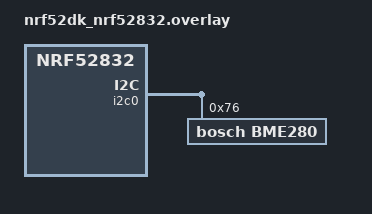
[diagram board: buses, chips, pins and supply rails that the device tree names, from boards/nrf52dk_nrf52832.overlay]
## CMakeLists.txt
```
cmake_minimum_required(VERSION 3.20.0)

set(BOARD thingy52)

set(KCONFIG_ERROR_ON_WARNINGS OFF)

FILE(GLOB app_sources src/*.c)

set(BOARD_ROOT ${CMAKE_CURRENT_SOURCE_DIR})
set(CMAKE_PREFIX_PATH ${CMAKE_CURRENT_SOURCE_DIR}/../zephyr)

find_package(Zephyr REQUIRED HINTS $ENV{ZEPHYR_BASE})
project(app C)
target_sources(app PRIVATE ${app_sources})

# add_subdirectory(tests)
```

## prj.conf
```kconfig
CONFIG_BT=y
CONFIG_BT_PERIPHERAL=y
CONFIG_BT_ZEPHYR_NUS=y
CONFIG_BT_DEVICE_NAME="EmbedOps sensor"
CONFIG_BT_DEVICE_APPEARANCE=1344


CONFIG_I2C=y
CONFIG_SENSOR=y
CONFIG_BME280=y

CONFIG_LOG=y
CONFIG_GPIO=y
```

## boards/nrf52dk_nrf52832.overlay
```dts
&pinctrl {
        i2c0_default: i2c0_default {
                group1 {
                        psels = <NRF_PSEL(TWIM_SDA, 0, 26)>,
                                <NRF_PSEL(TWIM_SCL, 0, 27)>;
                };
        };

        i2c0_sleep: i2c0_sleep {
                group1 {
                        psels = <NRF_PSEL(TWIM_SDA, 0, 26)>,
                                <NRF_PSEL(TWIM_SCL, 0, 27)>;
                        low-power-enable;
                };
        };
};

&i2c0 {
    status = "okay";
    bme280@76 {
        compatible = "bosch,bme280";
        reg = <0x76>;
    };
};
```

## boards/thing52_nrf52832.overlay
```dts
&lps22hb_press {
    status = "okay";
};

&hts221 {
    status = "okay";
};

/ {
        aliases {
                lps22hbpress = &lps22hb_press;
                hts221 = &hts221;
        }
};
```

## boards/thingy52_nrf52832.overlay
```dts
&lps22hb_press {
    status = "okay";
};

&hts221 {
    status = "okay";
};

/ {
        aliases {
                lps22hbpress = &lps22hb_press;
                hts221 = &hts221;
        };
};
```

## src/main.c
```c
#include "ble.h"
#include "sensors.h"

#include <stdbool.h>
#include <stdio.h>

#include <zephyr/drivers/gpio.h>
#include <zephyr/kernel.h>

#include <zephyr/logging/log.h>
LOG_MODULE_REGISTER(nrf52dk_eo);

#define SLEEP_TIME_MS 1000

#define LED0_NODE DT_ALIAS(led0)

static const struct gpio_dt_spec led = GPIO_DT_SPEC_GET(LED0_NODE, gpios);

static int led_initialize(void) {
  int ret;

  if (!gpio_is_ready_dt(&led)) {
    return -1;
  }

  ret = gpio_pin_configure_dt(&led, GPIO_OUTPUT_ACTIVE);
  if (ret != 0) {
    return -1;
  }

  return 0;
}

static void led_toggle(void) {
  int ret;

  ret = gpio_pin_toggle_dt(&led);
  if (ret < 0) {
    LOG_ERR("failed to toggle led %d", ret);
  }
}

static void led_status(int err) {
  int i;

  if (err) {
    for (i = 0; i < 3; ++i) { // three blinks for an err
      led_toggle();
      k_msleep(SLEEP_TIME_MS);
    }
  }
}

int main(void) {
  int ret;

  ret = led_initialize();
  if (ret < 0) {
    LOG_ERR("failed to initialize led");
    return 0;
  }

  ret = sensor_initialize();
  if (ret < 0) {
    LOG_ERR("bme280 failed to initialize");
    return 0;
  }

  ret = ble_initialize();
  if (ret < 0) {
    LOG_ERR("ble failed to initialize");
    return 0;
  }

  while (1) {
    led_status(ret);
    ret = ble_notify();
    k_msleep(SLEEP_TIME_MS);
  }
  return 0;
}
```

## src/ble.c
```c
#include "ble.h"
#include "sensors.h"

#include <zephyr/bluetooth/bluetooth.h>
#include <zephyr/bluetooth/conn.h>
#include <zephyr/bluetooth/gatt.h>
#include <zephyr/bluetooth/hci.h>
#include <zephyr/bluetooth/services/nus.h>
#include <zephyr/bluetooth/uuid.h>

#include <zephyr/logging/log.h>
LOG_MODULE_REGISTER(nrf52dk_eo_ble);

#define DEVICE_NAME CONFIG_BT_DEVICE_NAME
#define DEVICE_NAME_LEN (sizeof(DEVICE_NAME) - 1)

// BLE service e177af9e-e1f0-4f65-8206-29507e994416
#define BT_UUID_CUSTOM_SERVICE_VAL                                             \
  BT_UUID_128_ENCODE(0xe177af9e, 0xe1f0, 0x4f65, 0x8206, 0x29507e994416)

static struct bt_uuid_128 service_uuid =
    BT_UUID_INIT_128(BT_UUID_CUSTOM_SERVICE_VAL);

// BLE characteristic e177af9e-e1f0-4f65-8206-29507e994417
static struct bt_uuid_128 characteristic_uuid = BT_UUID_INIT_128(
    BT_UUID_128_ENCODE(0xe177af9e, 0xe1f0, 0x4f65, 0x8206, 0x29507e994417));

// temperature, pressure, humidity
static uint8_t sensor_values[6] = {0, 0, 0, 0, 0, 0};
static const struct bt_gatt_attr *tx_attr;

static void ccc_cfg_changed(const struct bt_gatt_attr *attr, uint16_t value) {
  ARG_UNUSED(attr);

  switch (value) {
  case BT_GATT_CCC_NOTIFY:
    LOG_DBG("CMD RX/TX CCCD subscribed");
    break;
  case BT_GATT_CCC_INDICATE:
    break;
  case 0:
    LOG_DBG("CMD RX/TX CCCD unsubscribed");
    break;

  default:
    LOG_DBG("failed CCCD has invalid value");
  }
}

static bool sensor_values_updated(void) {
  uint8_t current_buffer[6];
  int16_t temp;
  uint16_t humid, press;

  temp = sensor_get_temperature();
  press = sensor_get_pressure();
  humid = sensor_get_humidity();

  current_buffer[0] = temp & 0xFF;
  current_buffer[1] = temp >> 8;
  current_buffer[2] = press & 0xFF;
  current_buffer[3] = press >> 8;
  current_buffer[4] = humid & 0xFF;
  current_buffer[5] = humid >> 8;

  if (memcmp(sensor_values, current_buffer, sizeof(current_buffer)) != 0) {
    memcpy(sensor_values, current_buffer, sizeof(current_buffer));
    return true;
  }

  return false;
}

static ssize_t read_characteristic(struct bt_conn *conn,
                                   const struct bt_gatt_attr *attr, void *buf,
                                   uint16_t len, uint16_t offset) {
  if (sensor_values_updated()) {
    // we should do something ?
  }
  const char *value = attr->user_data;

  return bt_gatt_attr_read(conn, attr, buf, len, offset, value,
                           sizeof(sensor_values));
}

// primary service def.
BT_GATT_SERVICE_DEFINE(
    service, BT_GATT_PRIMARY_SERVICE(&service_uuid),
    BT_GATT_CHARACTERISTIC(&characteristic_uuid.uuid,
                           BT_GATT_CHRC_READ | BT_GATT_CHRC_INDICATE,
                           BT_GATT_PERM_READ, read_characteristic, NULL,
                           sensor_values),
    BT_GATT_CCC(ccc_cfg_changed, BT_GATT_PERM_READ | BT_GATT_PERM_WRITE), );

// advertising data
static const struct bt_data advert_data[] = {
    BT_DATA_BYTES(BT_DATA_FLAGS, (BT_LE_AD_GENERAL | BT_LE_AD_NO_BREDR)),
    BT_DATA_BYTES(BT_DATA_UUID128_ALL, BT_UUID_CUSTOM_SERVICE_VAL),
};

static const struct bt_data scan_data[] = {
    BT_DATA(BT_DATA_NAME_COMPLETE, CONFIG_BT_DEVICE_NAME,
            sizeof(CONFIG_BT_DEVICE_NAME) - 1),
};

static void bt_ready(int err) {
  int ret;
  LOG_INF("BT is ready");

  if (err) {
    LOG_ERR("ble not initialized %d", err);
    return;
  }

  LOG_INF("ble initialized");
  ret = bt_le_adv_start(BT_LE_ADV_CONN_FAST_1, advert_data,
                        ARRAY_SIZE(advert_data), scan_data,
                        ARRAY_SIZE(scan_data));
  if (ret != 0) {
    LOG_ERR("advertising failed to start %d", ret);
    return;
  }

  LOG_INF("advertising started");
}

static void connected(struct bt_conn *conn, uint8_t err) {
  char addr[BT_ADDR_LE_STR_LEN];

  bt_addr_le_to_str(bt_conn_get_dst(conn), addr, sizeof(addr));
  if (err) {
    LOG_ERR("failed to connect to %s, err 0x%02x %s", addr, err,
            bt_hci_err_to_str(err));
    return;
  }

  LOG_INF("connected to %s", addr);
}

static void disconnected(struct bt_conn *conn, uint8_t reason) {
  char addr[BT_ADDR_LE_STR_LEN];

  bt_addr_le_to_str(bt_conn_get_dst(conn), addr, sizeof(addr));

  LOG_INF("disconnected from %s, reason 0x%02x %s", addr, reason,
          bt_hci_err_to_str(reason));
}

BT_CONN_CB_DEFINE(conn_callbacks) = {
    .connected = connected,
    .disconnected = disconnected,
};

static void nus_notif_enabled(bool enabled, void *ctx) {
  ARG_UNUSED(ctx);

  LOG_INF("nus notification - %s", (enabled ? "enabled" : "disabled"));
}

static void nus_received(struct bt_conn *conn, const void *data, uint16_t len,
                         void *ctx) {
  ARG_UNUSED(ctx);

  int ret;

  LOG_INF("nus received - Len: %d, Message: %s", len, (char *)data);

  ret = bt_nus_send(conn, (char *)data, len);
  if (ret) {
    LOG_ERR("failed to send NUS %d", ret);
  }
}

struct bt_nus_cb nus_listener = {
    .notif_enabled = nus_notif_enabled,
    .received = nus_received,
};

bool can_notify(struct bt_conn *conn) {
  return bt_gatt_is_subscribed(conn, tx_attr, BT_GATT_CCC_NOTIFY);
}

bool can_indicate(struct bt_conn *conn) {
  return bt_gatt_is_subscribed(conn, tx_attr, BT_GATT_CCC_INDICATE);
}

int nus_tx_notify(struct bt_conn *conn, const void *data, uint16_t len) {
  if (!can_notify(conn)) {
    LOG_WRN("Peer not subscribed for NOTIFY");
    return -ENOTCONN;
  }
  return bt_gatt_notify(conn, tx_attr, data, len);
}

int ble_notify(void) {
  int ret;

  ret = 0;
  if (sensor_values_updated()) {

    const struct bt_gatt_attr *service_attr = service.attrs;
    ret = bt_gatt_notify(NULL, service_attr, sensor_values,
                         sizeof(sensor_values));
    if (ret != 0) {
      LOG_ERR("notify failed %d", ret);
    }
  }
  return ret;
}

int ble_initialize(void) {
  int ret;

  ret = bt_nus_cb_register(&nus_listener, NULL);
  LOG_INF("bt_nus_cb_register: %d", ret);
  if (ret) {
    LOG_ERR("failed to register NUS callback: %d", ret);
    return -1;
  }

  ret = bt_enable(bt_ready);
  if (ret != 0) {
    LOG_ERR("ble initialization failure %d", ret);
    return -1;
  }

  return 0;
}
```

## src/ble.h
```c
#ifndef _BLE_H_
#define _BLE_H_

int ble_initialize(void);
int ble_notify(void);
#endif
```

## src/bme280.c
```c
#include "bme280.h"
#include "conversions.h"

#include <zephyr/device.h>
#include <zephyr/drivers/sensor.h>
#include <zephyr/logging/log.h>
LOG_MODULE_REGISTER(nrf52dk_eo_bme280);

const struct device *bme280_dev = DEVICE_DT_GET_ANY(bosch_bme280);

int bme280_initialize_device(void) {
  if (!bme280_dev) {
    LOG_ERR("BME280 device node not found");
    return -1;
  }
  if (!device_is_ready(bme280_dev)) {
    LOG_ERR("BME280 device not ready");
    return -1;
  }
  LOG_INF("BME280 initialized");
  return 0;
}

/* Helper: fetch once before reading channels */
static int bme280_fetch(void) {
  int ret = sensor_sample_fetch(bme280_dev);
  if (ret) {
    LOG_ERR("sample_fetch failed (%d)", ret);
    return -1;
  }
  return 0;
}

/* Return temperature in centi-degC (e.g., 2534 => 25.34°C) */
int16_t bme280_get_temperature(void) {
  struct sensor_value t;
  int ret;

  if (bme280_fetch() != 0)
    return -1;

  ret = sensor_channel_get(bme280_dev, SENSOR_CHAN_AMBIENT_TEMP, &t);
  if (ret != 0) {
    LOG_ERR("get temperature failed (%d)", ret);
    return -1;
  }
  return sensor_value_to_temperature(&t);
}

uint32_t bme280_get_pressure(void) {
  struct sensor_value p;
  int ret;

  if (bme280_fetch() != 0)
    return (uint32_t)-1;

  ret = sensor_channel_get(bme280_dev, SENSOR_CHAN_PRESS, &p);
  if (ret != 0) {
    LOG_ERR("get pressure failed (%d)", ret);
    return (uint32_t)-1;
  }

  return sensor_value_to_pressure(&p);
}

/* Return humidity in centi-%RH (e.g., 4567 => 45.67%) */
uint16_t bme280_get_humidity(void) {
  struct sensor_value h;
  int ret;

  if (bme280_fetch() != 0)
    return (uint16_t)-1;

  ret = sensor_channel_get(bme280_dev, SENSOR_CHAN_HUMIDITY, &h);
  if (ret != 0) {
    LOG_ERR("get humidity failed (%d)", ret);
    return (uint16_t)-1;
  }

  return sensor_value_to_humidity(&h);
}
```

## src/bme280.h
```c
#ifndef _BME280_H_
#define _BME280_H_

#include <stdint.h>

int bme280_initialize_device(void);
int16_t bme280_get_temperature(void);
uint32_t bme280_get_pressure(void);
uint16_t bme280_get_humidity(void);

#endif
```

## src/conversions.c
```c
#include "conversions.h"

/* conversions */
uint32_t sensor_value_to_pressure(void *val) {
  /* this hack to allow testing in ceedling without reliance on the
     <zephyr/drivers/sensor.h> library
   */
  struct sensor_value {
    int32_t val1;
    int32_t val2;
  };

  if (!val) {
    return 0;
  }

  struct sensor_value value = *(struct sensor_value *)val;
  /* Zephyr pressure: val1 in kPa, val2 in micro-kPa */
  /* Convert to Pa: kPa * 1000 + microkPa * 0.001 */
  int64_t pa = (int64_t)value.val1 * 1000 + (int64_t)(value.val2 / 1000);
  if (pa < 0)
    pa = 0;

  return (uint32_t)pa;
}

uint16_t sensor_value_to_humidity(void *val) {
  struct sensor_value {
    int32_t val1;
    int32_t val2;
  };

  if (!val) {
    return 0;
  }

  struct sensor_value value = *(struct sensor_value *)val;
  /* %RH: val1 in %, val2 in micro-% */
  int32_t cpermil = (int32_t)value.val1 * 100 + (int32_t)(value.val2 / 10000);
  if (cpermil < 0)
    cpermil = 0;
  if (cpermil > 10000)
    cpermil = 10000; // clamp 0..100.00%
  return (uint16_t)cpermil;
}

int16_t sensor_value_to_temperature(void *val) {
  struct sensor_value {
    int32_t val1;
    int32_t val2;
  };

  if (!val) {
    return 0;
  }

  struct sensor_value value = *(struct sensor_value *)val;
  /* t.val1 in °C, t.val2 in 1e-6 °C */
  int32_t cdeg = (int32_t)value.val1 * 100 +
                 (int32_t)(value.val2 / 10000); // 1e-6 / 1e4 = 1e-2
  return (int16_t)cdeg;
}
```

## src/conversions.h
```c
#ifndef _CONVERSIONS_H_
#define _CONVERSIONS_H_

#include <stdint.h>

uint32_t sensor_value_to_pressure(void *value);
uint16_t sensor_value_to_humidity(void *value);
int16_t sensor_value_to_temperature(void *value);

#endif
```

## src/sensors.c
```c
#include "sensors.h"
#include "bme280.h"
#include "conversions.h"

#include <zephyr/device.h>
#include <zephyr/drivers/sensor.h>
#include <zephyr/logging/log.h>
LOG_MODULE_REGISTER(nrf52dk_eo_sensor);

#if defined(CONFIG_BOARD_THINGY52_NRF52832)
const struct device *temp_sensor = DEVICE_DT_GET_ANY(DT_ALIAS(hts221));
const struct device *press_sensor = DEVICE_DT_GET_ANY(DT_ALIAS(lps22hbpress));
#endif

int sensor_initialize(void) {
  int ret;
#if defined(CONFIG_BOARD_THINGY52_NRF52832)
  if (!temp_sensor) {
    LOG_ERR("temp sensor not found");
    return -1;
  }

  if (!press_sensor) {
    LOG_ERR("pressure sensor not found");
    return -1;
  }

  if (!device_is_ready(temp_sensor)) {
    LOG_ERR("temp sensor is not ready");
    return -1;
  }

  if (!device_is_ready(press_sensor)) {
    LOG_ERR("pressure sensor is not ready");
    return -1;
  }
#else
  ret = bme280_initialize_device();
#endif
  return ret;
}

int16_t sensor_get_temperature(void) {
#if defined(CONFIG_BOARD_THINGY52_NRF52832)
  int ret;
  struct sensor_value temp;
  if (sensor_sample_fetch(temp_sensor) != 0) {
    return (int16_t)-1;
  }

  ret = sensor_channel_get(temp_sensor, SENSOR_CHAN_AMBIENT_TEMP, &temp);
  if (ret != 0) {
    LOG_ERR("get temperature failed");
    return (int16_t)-1;
  }

  return sensor_value_to_temperature(&temp);
#else
  return bme280_get_temperature();
#endif
}

uint32_t sensor_get_pressure(void) {
#if defined(CONFIG_BOARD_THINGY52_NRF52832)
  int ret;
  struct sensor_value press;
  if (sensor_sample_fetch(press_sensor) != 0) {
    return (uint32_t)-1;
  }

  ret = sensor_channel_get(press_sensor, SENSOR_CHAN_PRESS, &press);
  if (ret != 0) {
    LOG_ERR("get pressure failed");
    return (int16_t)-1;
  }

  return sensor_value_to_pressure(&press);
#else
  return bme280_get_pressure();
#endif
}
uint16_t sensor_get_humidity(void) {
#if defined(CONFIG_BOARD_THINGY52_NRF52832)
  int ret;
  struct sensor_value humid;
  if (sensor_sample_fetch(temp_sensor) != 0) {
    return (uint16_t)-1;
  }

  ret = sensor_channel_get(temp_sensor, SENSOR_CHAN_HUMIDITY, &humid);
  if (ret != 0) {
    LOG_ERR("get humidity failed");
    return (int16_t)-1;
  }

  return sensor_value_to_humidity(&humid);
#else
  return bme280_get_humidity();
#endif
}
```

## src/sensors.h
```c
#ifndef _SENSORS_H_
#define _SENSORS_H_

#include <stdint.h>

int sensor_initialize(void);
int16_t sensor_get_temperature(void);
uint32_t sensor_get_pressure(void);
uint16_t sensor_get_humidity(void);

#endif
```
